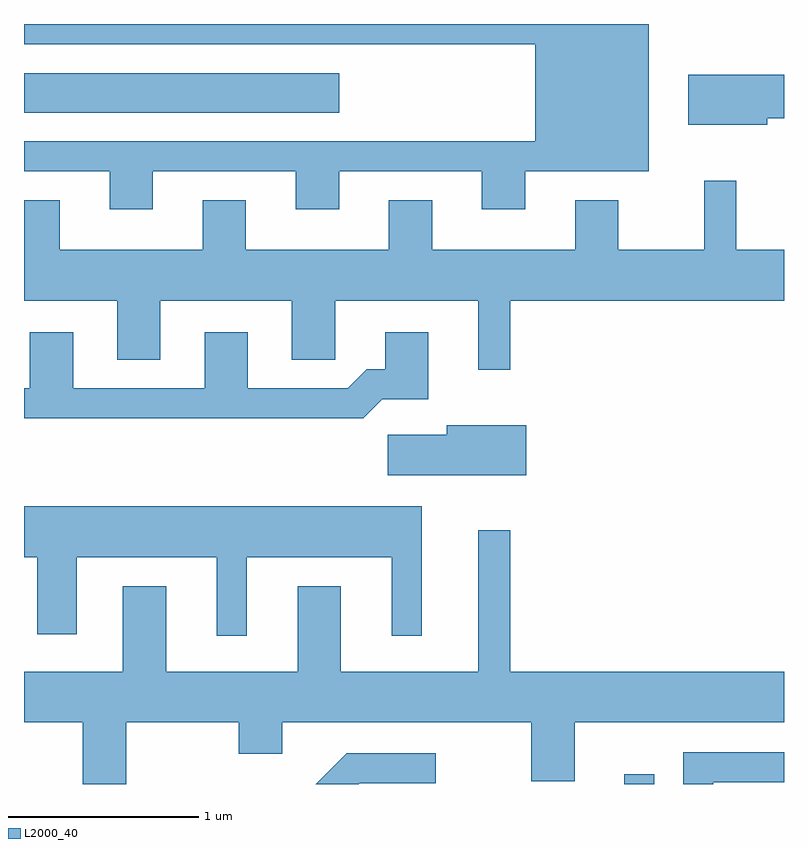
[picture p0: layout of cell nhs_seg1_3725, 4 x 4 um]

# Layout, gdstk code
import gdstk
lib = gdstk.Library(unit=1e-6, precision=1e-09)
def R(c, l, rs):  # rectangles x0, y0, x1, y1
    for r in rs: c.add(gdstk.rectangle(r[:2], r[2:], *l))
def P(c, l, *ps):  # polygons
    for p in ps: c.add(gdstk.Polygon(p, *l))
L2000_40 = (2000, 40)

nhs_seg1_3725 = lib.new_cell('nhs_seg1_3725')
R(nhs_seg1_3725, L2000_40, [(300.771,883.712,300.929,883.763), (297.611,887.246,299.269,887.454)])
P(nhs_seg1_3725, L2000_40, [(298.289,886.936),(299.041,886.936),(299.041,886.736),(299.269,886.736),(299.269,886.936),(300.021,886.936),(300.021,886.736),(300.249,886.736),(300.249,886.936),(300.899,886.936),(300.899,887.712),(297.611,887.712),(297.611,887.606),(300.301,887.606),(300.301,887.094),(297.611,887.094),(297.611,886.936),(298.061,886.936),(298.061,886.736),(298.289,886.736)],
  [(301.524,887.216),(301.611,887.216),(301.611,887.444),(301.106,887.444),(301.106,887.181),(301.524,887.181)],
  [(300.169,886.256),(301.611,886.256),(301.611,886.524),(301.359,886.524),(301.359,886.888),(301.191,886.888),(301.191,886.524),(300.739,886.524),(300.739,886.784),(300.511,886.784),(300.511,886.524),(299.759,886.524),(299.759,886.784),(299.531,886.784),(299.531,886.524),(298.779,886.524),(298.779,886.784),(298.551,886.784),(298.551,886.524),(297.799,886.524),(297.799,886.784),(297.611,886.784),(297.611,886.256),(298.101,886.256),(298.101,885.946),(298.329,885.946),(298.329,886.256),(299.021,886.256),(299.021,885.946),(299.249,885.946),(299.249,886.256),(300.001,886.256),(300.001,885.893),(300.169,885.893)],
  [(299.497,885.736),(299.739,885.736),(299.739,886.089),(299.511,886.089),(299.511,885.894),(299.414,885.894),(299.314,885.794),(298.789,885.794),(298.789,886.089),(298.561,886.089),(298.561,885.794),(297.869,885.794),(297.869,886.089),(297.641,886.089),(297.641,885.794),(297.611,885.794),(297.611,885.636),(299.397,885.636)],
  [(300.254,885.599),(299.836,885.599),(299.836,885.549),(299.526,885.549),(299.526,885.336),(300.254,885.336)],
  [(298.784,884.906),(299.546,884.906),(299.546,884.493),(299.704,884.493),(299.704,885.174),(297.611,885.174),(297.611,884.906),(297.681,884.906),(297.681,884.501),(297.889,884.501),(297.889,884.906),(298.626,884.906),(298.626,884.493),(298.784,884.493)],
  [(298.149,884.036),(298.741,884.036),(298.741,883.871),(298.969,883.871),(298.969,884.036),(300.281,884.036),(300.281,883.726),(300.509,883.726),(300.509,884.036),(301.611,884.036),(301.611,884.304),(300.169,884.304),(300.169,885.048),(300.001,885.048),(300.001,884.304),(299.279,884.304),(299.279,884.754),(299.051,884.754),(299.051,884.304),(298.359,884.304),(298.359,884.754),(298.131,884.754),(298.131,884.304),(297.611,884.304),(297.611,884.036),(297.921,884.036),(297.921,883.712),(298.149,883.712)],
  [(301.239,883.721),(301.611,883.721),(301.611,883.879),(301.081,883.879),(301.081,883.712),(301.239,883.712)],
  [(299.377,883.716),(299.778,883.716),(299.778,883.874),(299.309,883.874),(299.146,883.712),(299.373,883.712)])

lib.write_gds('nhs_seg1_3725.gds')
